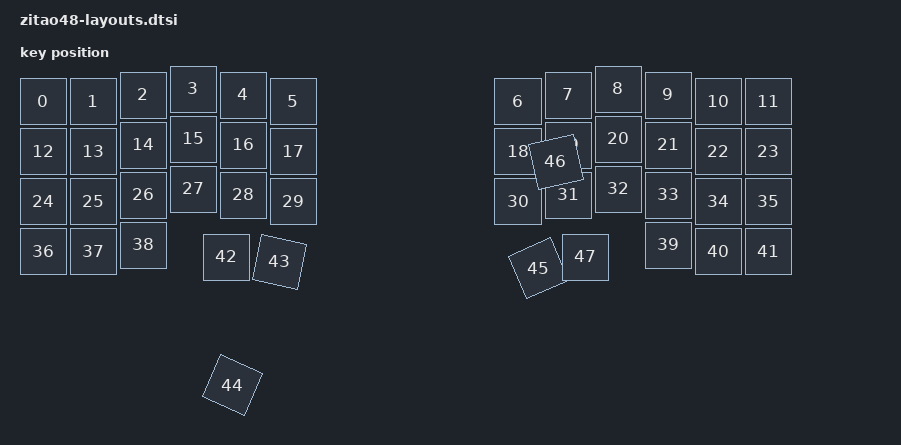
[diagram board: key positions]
#include <physical_layouts.dtsi>
#include <dt-bindings/zmk/matrix_transform.h>

/ {
    zitao48_layout: zitao48_layout {
        compatible = "zmk,physical-layout";
        display-name = "zitao48";

        kscan = <&kscan0>;
        transform = <&matrix_transform0>;

        keys  //                     w   h    x    y     rot    rx    ry
            = <&key_physical_attrs 100 100    0   25       0     0     0>
            , <&key_physical_attrs 100 100  100   25       0     0     0>
            , <&key_physical_attrs 100 100  200   12       0     0     0>
            , <&key_physical_attrs 100 100  300    0       0     0     0>
            , <&key_physical_attrs 100 100  400   12       0     0     0>
            , <&key_physical_attrs 100 100  500   25       0     0     0>
            , <&key_physical_attrs 100 100  950   25       0     0     0>
            , <&key_physical_attrs 100 100 1050   12       0     0     0>
            , <&key_physical_attrs 100 100 1150    0       0     0     0>
            , <&key_physical_attrs 100 100 1250   12       0     0     0>
            , <&key_physical_attrs 100 100 1350   25       0     0     0>
            , <&key_physical_attrs 100 100 1450   25       0     0     0>
            , <&key_physical_attrs 100 100    0  125       0     0     0>
            , <&key_physical_attrs 100 100  100  125       0     0     0>
            , <&key_physical_attrs 100 100  200  112       0     0     0>
            , <&key_physical_attrs 100 100  300  100       0     0     0>
            , <&key_physical_attrs 100 100  400  112       0     0     0>
            , <&key_physical_attrs 100 100  500  125       0     0     0>
            , <&key_physical_attrs 100 100  950  125       0     0     0>
            , <&key_physical_attrs 100 100 1050  112       0     0     0>
            , <&key_physical_attrs 100 100 1150  100       0     0     0>
            , <&key_physical_attrs 100 100 1250  112       0     0     0>
            , <&key_physical_attrs 100 100 1350  125       0     0     0>
            , <&key_physical_attrs 100 100 1450  125       0     0     0>
            , <&key_physical_attrs 100 100    0  225       0     0     0>
            , <&key_physical_attrs 100 100  100  225       0     0     0>
            , <&key_physical_attrs 100 100  200  212       0     0     0>
            , <&key_physical_attrs 100 100  300  200       0     0     0>
            , <&key_physical_attrs 100 100  400  212       0     0     0>
            , <&key_physical_attrs 100 100  500  225       0     0     0>
            , <&key_physical_attrs 100 100  950  225       0     0     0>
            , <&key_physical_attrs 100 100 1050  212       0     0     0>
            , <&key_physical_attrs 100 100 1150  200       0     0     0>
            , <&key_physical_attrs 100 100 1250  212       0     0     0>
            , <&key_physical_attrs 100 100 1350  225       0     0     0>
            , <&key_physical_attrs 100 100 1450  225       0     0     0>
            , <&key_physical_attrs 100 100    0  325       0     0     0>
            , <&key_physical_attrs 100 100  100  325       0     0     0>
            , <&key_physical_attrs 100 100  200  312       0     0     0>
            , <&key_physical_attrs 100 100 1250  312       0     0     0>
            , <&key_physical_attrs 100 100 1350  325       0     0     0>
            , <&key_physical_attrs 100 100 1450  325       0     0     0>
            , <&key_physical_attrs 100 100  366  336       0     0     0>
            , <&key_physical_attrs 100 100  470  307    1193   335   393>
            , <&key_physical_attrs 100 100  602  364    2387     0     0>
            , <&key_physical_attrs 100 100  829  307 (-2387)  1082     0>
            , <&key_physical_attrs 100 100  962  364 (-1193)     0     0>
            , <&key_physical_attrs 100 100 1084  336       0     0     0>
            ;
    };
};



